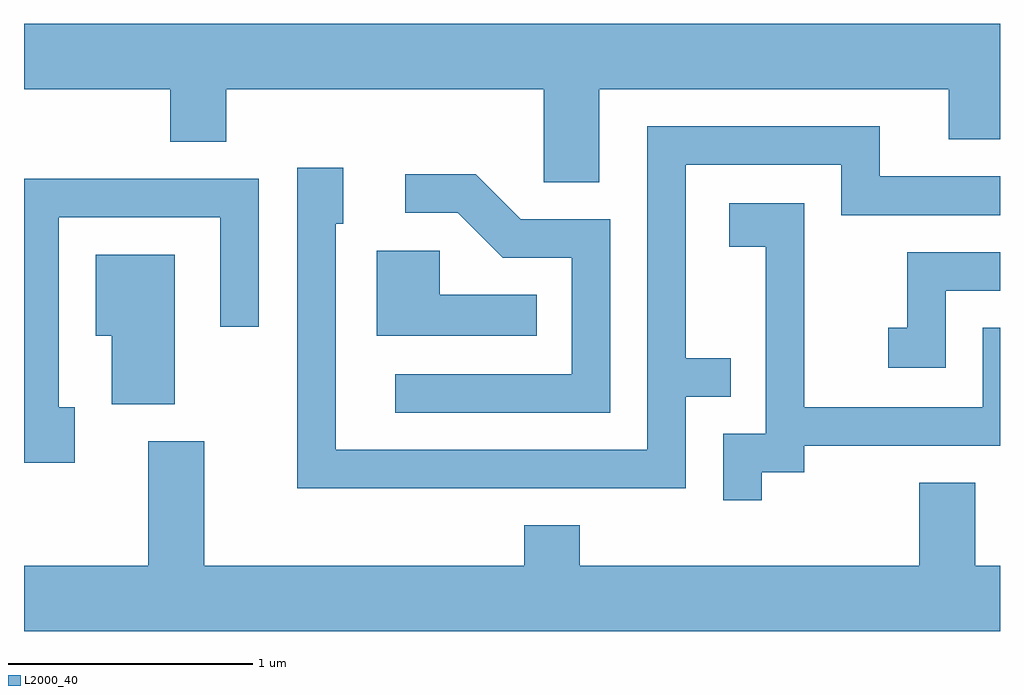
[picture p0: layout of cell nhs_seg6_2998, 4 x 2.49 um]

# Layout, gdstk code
import gdstk
lib = gdstk.Library(unit=1e-6, precision=1e-09)
def P(c, l, *ps):  # polygons
    for p in ps: c.add(gdstk.Polygon(p, *l))
L2000_40 = (2000, 40)

nhs_seg6_2998 = lib.new_cell('nhs_seg6_2998')
P(nhs_seg6_2998, L2000_40, [(277.969,1601.096),(279.401,1601.096),(279.401,1600.891),(279.611,1600.891),(279.611,1601.364),(275.611,1601.364),(275.611,1601.096),(276.211,1601.096),(276.211,1600.881),(276.439,1600.881),(276.439,1601.096),(277.741,1601.096),(277.741,1600.716),(277.969,1600.716)],
  [(278.324,1599.836),(278.508,1599.836),(278.508,1599.994),(278.324,1599.994),(278.324,1600.786),(278.961,1600.786),(278.961,1600.581),(279.611,1600.581),(279.611,1600.739),(279.119,1600.739),(279.119,1600.944),(278.166,1600.944),(278.166,1599.619),(276.889,1599.619),(276.889,1600.546),(276.919,1600.546),(276.919,1600.774),(276.731,1600.774),(276.731,1599.461),(278.324,1599.461)],
  [(278.014,1600.564),(277.647,1600.564),(277.462,1600.749),(277.173,1600.749),(277.173,1600.591),(277.389,1600.591),(277.574,1600.406),(277.856,1600.406),(277.856,1599.929),(277.133,1599.929),(277.133,1599.771),(278.014,1599.771)],
  [(275.819,1599.794),(275.754,1599.794),(275.754,1600.571),(276.416,1600.571),(276.416,1600.123),(276.574,1600.123),(276.574,1600.729),(275.611,1600.729),(275.611,1599.566),(275.819,1599.566)],
  [(278.634,1599.526),(278.809,1599.526),(278.809,1599.636),(279.611,1599.636),(279.611,1600.119),(279.541,1600.119),(279.541,1599.794),(278.809,1599.794),(278.809,1600.629),(278.501,1600.629),(278.501,1600.451),(278.651,1600.451),(278.651,1599.684),(278.476,1599.684),(278.476,1599.413),(278.634,1599.413)],
  [(277.713,1600.254),(277.314,1600.254),(277.314,1600.434),(277.056,1600.434),(277.056,1600.086),(277.713,1600.086)],
  [(279.389,1600.271),(279.611,1600.271),(279.611,1600.429),(279.231,1600.429),(279.231,1600.119),(279.153,1600.119),(279.153,1599.956),(279.389,1599.956)],
  [(276.229,1600.419),(275.906,1600.419),(275.906,1600.086),(275.971,1600.086),(275.971,1599.806),(276.229,1599.806)],
  [(279.611,1599.144),(279.509,1599.144),(279.509,1599.484),(279.281,1599.484),(279.281,1599.144),(277.889,1599.144),(277.889,1599.309),(277.661,1599.309),(277.661,1599.144),(276.349,1599.144),(276.349,1599.654),(276.121,1599.654),(276.121,1599.144),(275.611,1599.144),(275.611,1598.876),(279.611,1598.876)])

lib.write_gds('nhs_seg6_2998.gds')
